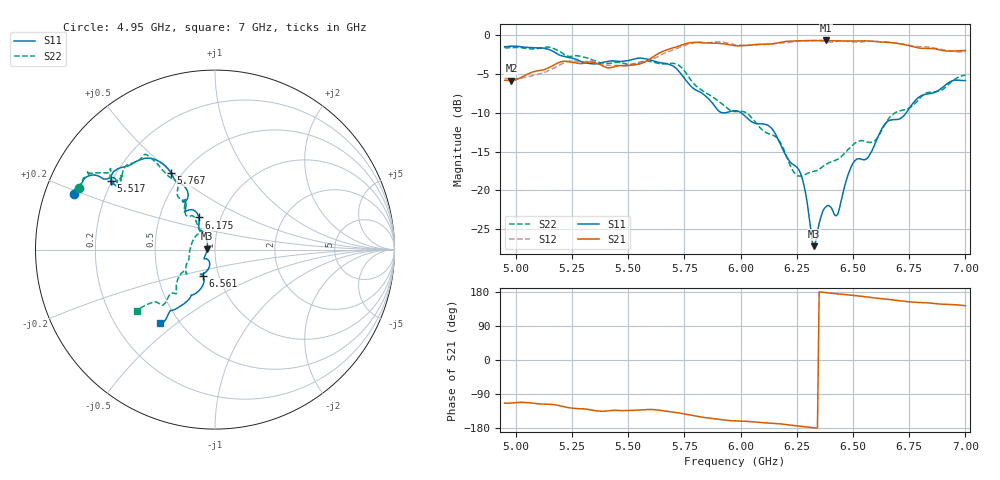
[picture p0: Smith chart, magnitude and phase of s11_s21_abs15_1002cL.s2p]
! MS46122B
! 1919307/90821646
! 5/18/2022 3:11:38 PM
! C:\USERS\PC_\DESKTOP\CARACTERIZACION\MEDICIONES\BANDA ANCHA\S11_S21_ABS15_1002CL.S2P
! CHANNEL.1
! TR.MEASUREMENT
! CORRECTED.DATA
# GHZ S RI R 50.0
! FREQ.GHZ  S11RE  S11IM  S21RE  S21IM  S12RE  S12IM  S22RE  S22IM
!; PortSelection: Port_12
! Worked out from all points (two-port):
!   272 points, 4.95 GHz to 7 GHz, reference 50 ohm
!   highest |S21| = -0.67 dB at 6.38 GHz (marker M1); lowest = -5.9 dB at 4.98 GHz (marker M2)
!   |S21| within 3 dB of the highest: 5.179 GHz to 5.365 GHz (185.6 MHz wide, 3.52 % of centre); 5.554 GHz to end of sweep
!   lowest |S11| = -27.2 dB at 6.327 GHz (marker M3), VSWR 1.09, Z = 45.8 + j0.437 ohm
!   |S11| at or under -10 dB: 6.003 GHz to 6.736 GHz (733.9 MHz wide, 11.5 % of centre)
!   |S22| runs from -18.2 to -1.5 dB; largest |S21 - S12| = 0.033
!   S11 on the Smith chart (normalised r, x): 4.95 GHz: 0.09, +0.19; 5.517 GHz: 0.19, +0.29; 5.767 GHz: 0.44, +0.49; 6.175 GHz: 0.79, +0.29; 6.561 GHz: 0.84, -0.25; 7 GHz: 0.39, -0.43
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4.95  -0.7843 0.312  -0.2082 -0.4687  -0.225 -0.4788  -0.7577 0.3417
4.980258  -0.7845 0.3269  -0.2033 -0.4671  -0.2199 -0.4756  -0.7412 0.3762
5.184502  -0.6403 0.4053  -0.3228 -0.5763  -0.3054 -0.5514  -0.6787 0.4255
5.29797  -0.5482 0.3824  -0.4129 -0.5132  -0.4099 -0.5364  -0.5818 0.4333
5.517343  -0.5807 0.3846  -0.4373 -0.4696  -0.4524 -0.4584  -0.5232 0.388
5.638376  -0.4712 0.4725  -0.5199 -0.5661  -0.4949 -0.5455  -0.4376 0.4893
5.706458  -0.3602 0.5086  -0.6219 -0.5569  -0.5947 -0.5521  -0.3874 0.5305
5.766974  -0.2451 0.4257  -0.7213 -0.5225  -0.6993 -0.5241  -0.3017 0.4541
5.910701  -0.1564 0.2779  -0.8158 -0.3437  -0.828 -0.369  -0.2094 0.3017
5.978782  -0.1778 0.2738  -0.8073 -0.2819  -0.8189 -0.288  -0.1672 0.2752
6.130074  -0.13 0.2227  -0.8542 -0.2021  -0.8554 -0.196  -0.1345 0.1875
6.175461  -0.0905 0.1791  -0.8812 -0.1798  -0.8749 -0.1708  -0.111 0.1728
6.235978  -0.0906 0.115  -0.911 -0.1152  -0.9006 -0.1267  -0.0835 0.1019
6.273801  -0.068 0.099  -0.9188 -0.0759  -0.918 -0.0794  -0.0831 0.0932
6.319188  -0.042 0.0201  -0.9231 -0.0266  -0.9219 -0.0293  -0.1174 0.0606
6.326753  -0.0435 0.00476  -0.924 -0.0186  -0.9232 -0.0212  -0.1232 0.0496
6.379705  -0.0611 -0.0492  -0.9249 0.0364  -0.9104 0.0425  -0.1444 -0.0304
6.432657  -0.034 -0.0616  -0.915 0.0893  -0.9138 0.0707  -0.1477 -0.0591
6.500738  -0.066 -0.1351  -0.9057 0.152  -0.8937 0.1504  -0.1626 -0.1121
6.561255  -0.0684 -0.1452  -0.8937 0.2159  -0.8912 0.2009  -0.158 -0.1315
6.659594  -0.1253 -0.2526  -0.8425 0.3107  -0.8519 0.2981  -0.2157 -0.1964
7  -0.3088 -0.4081  -0.6396 0.4765  -0.6243 0.4724  -0.4329 -0.344
